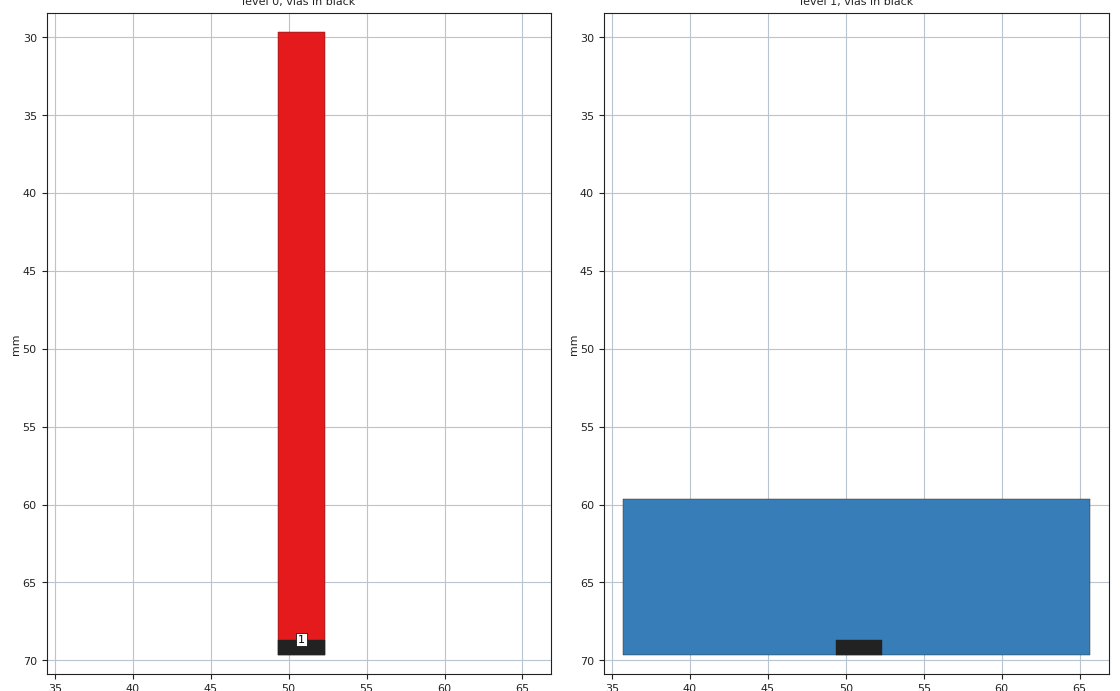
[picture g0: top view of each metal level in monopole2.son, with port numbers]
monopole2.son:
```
FTYP SONPROJ 3 ! Sonnet Project File
VER 11.54
HEADER
LIC Sonn.1.12345
DAT 04/23/2014 03:02:37
BUILT_BY_CREATED xgeom 11.54 04/23/2014 02:23:49
BUILT_BY_SAVED xgeom 11.54
MDATE 04/23/2014 03:01:54
HDATE 04/23/2014 03:01:54
END HEADER
DIM
FREQ GHZ
IND NH
LNG MM
ANG DEG
CON /OH
CAP PF
RES OH
END DIM
FREQ
ABS 1.5 3.5 
END FREQ
CONTROL
ABS
OPTIONS 
SPEED 1
CACHE_ABS 1
TARG_ABS 300
Q_ACC N
END CONTROL
GEO
TMET "Free Space" 0 FREESPACE 376.7303136 0 0 0
BMET "Free Space" 0 FREESPACE 376.7303136 0 0 0
BOX 2 99.999 99.999 600 600 20 0
      15 1 1 0 0 0 0 "Air"
      1.5 4.2 1 0.02 0 0 0 "FR4"
      15 1 1 0 0 0 0 "Air"
POR1 STD
POLY 38 1
0
1 50 0 0 0 50.83283584 68.6659813 
NUM 3
0 5 -1 N 20 1 1 100 100 0 0 0 Y
49.33283715 29.66637068
52.33283715 29.66637068
52.33283715 69.66637068
49.33283715 69.66637068
49.33283715 29.66637068
END
VIA POLYGON
0 5 -1 N 38 1 1 100 100 0 0 0 Y
TOLEVEL 1
49.33283584 68.6659813
52.33283584 68.6659813
52.33283584 69.6659813
49.33283584 69.6659813
49.33283584 68.6659813
END
1 5 -1 N 35 1 1 100 100 0 0 0 Y
35.66631091 59.66606982
65.66631091 59.66606982
65.66631091 69.66606982
35.66631091 69.66606982
35.66631091 59.66606982
END
END GEO
OPT
MAX 100
VARS
END OPT
VARSWP
END VARSWP
QSG
IMPORT NO
EXTRA_METAL NO
UNITS YES
ALIGN NO
REF NO
VIEW_RES NO
METALS NO
USED YES
END QSG
3DOPTIONS
GLOBAL 10
ALL 2 1
END 3DOPTIONS
```
